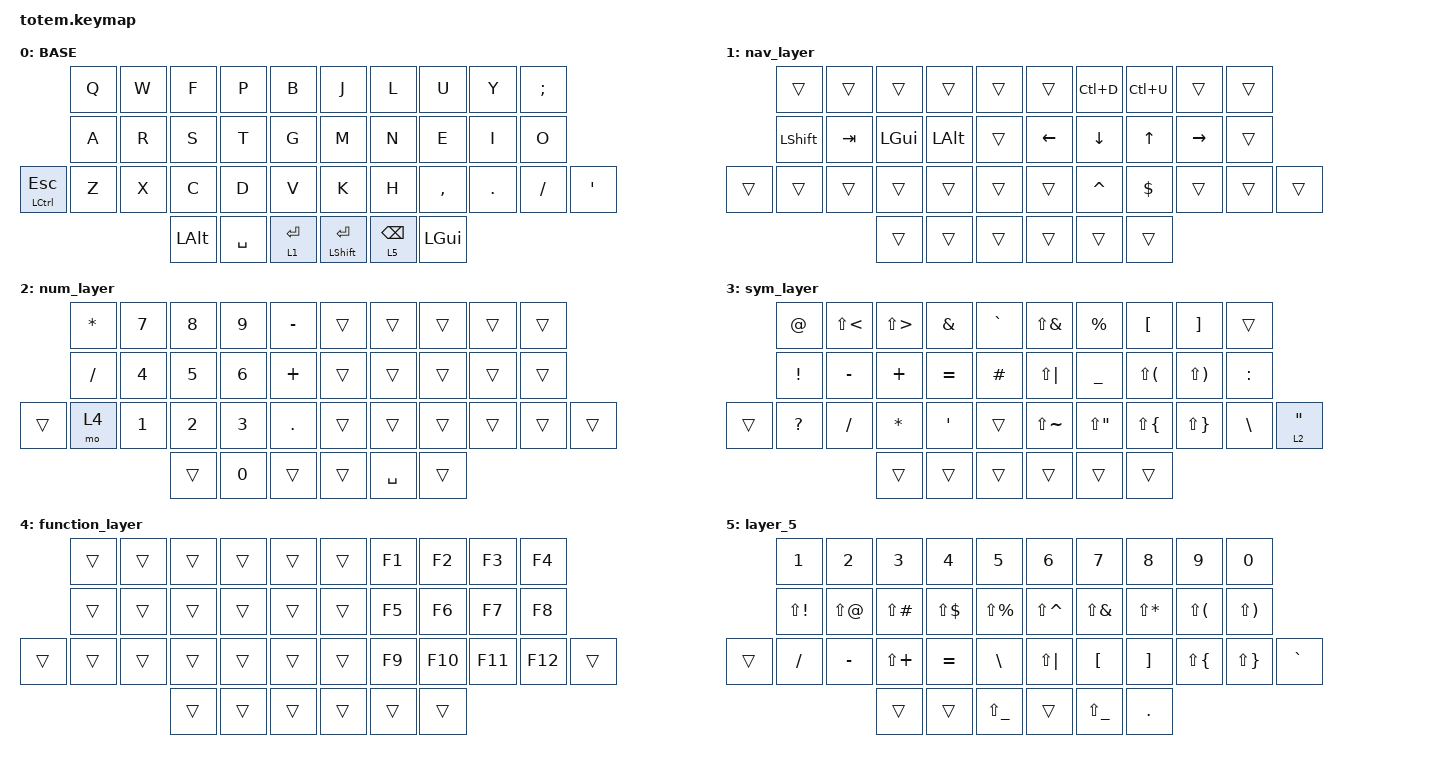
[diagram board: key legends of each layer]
//
//                                                        ▀▀▀▀▀     ▀▀▀▀▀          ▀▀█▀▀
//                                                        ▄▀▀▀▄  ▄  ▄▀▀▀▄  ▄  ▄▀▀▀▄  █  ▄▀▀▀▄
//                                                        █   █  █  █   █  █  █   █  █  █   █
//                                                         ▀▀▀   █   ▀▀▀   █   ▀▀▀   ▀   ▀▀▀
//                                                               █      ▄▄▄█▄▄▄    █   █  
//                                                               ▀      █  █  █     █▄█
//                                                             ▀▀▀▀▀    █  █  █      ▀
//                                                                      ▀  ▀  ▀
//
// ▄▄▄▄▄▄▄▄▄▄▄▄▄▄▄▄▄▄▄▄▄▄▄▄▄▄▄▄▄▄▄▄▄▄▄▄▄▄▄▄▄▄▄▄▄▄▄▄▄▄▄▄▄▄▄▄▄▄▄▄▄▄▄▄▄▄▄▄▄▄▄▄▄▄▄▄▄▄▄▄▄▄▄▄▄▄▄▄▄▄▄▄▄▄▄▄▄▄▄▄▄▄▄▄▄▄▄▄▄▄▄▄▄▄▄▄▄▄▄▄▄▄▄▄▄▄▄▄▄▄▄▄▄▄▄▄▄▄▄▄▄▄▄▄▄▄▄▄▄

#include <behaviors.dtsi>
#include <dt-bindings/zmk/keys.h>

#define BASE 0
#define NAV  1
#define SYM  2
#define ADJ  3
#define TVP1 4
#define TVP2 5

&lt { flavor = "hold-preferred"; };

/ {
    combos { compatible = "zmk,combos"; };

    behaviors {
        tmt: tmt {
            compatible = "zmk,behavior-hold-tap";
            label = "TMT";
            bindings = <&kp>, <&kp>;

            #binding-cells = <2>;
            tapping-term-ms = <150>;
            require-prior-idle-ms = <50>;
            flavor = "tap-preferred";
            quick-tap-ms = <50>;
        };
    };

    keymap {
        compatible = "zmk,keymap";

        // ▄▄▄▄▄▄▄▄▄▄▄▄▄▄▄▄▄▄▄▄▄▄▄▄▄▄▄▄▄▄▄▄▄▄▄▄▄▄▄▄▄▄▄▄▄▄▄▄▄▄▄▄▄▄▄▄▄▄▄▄▄▄▄▄▄▄▄▄▄▄▄▄▄▄▄▄▄▄▄▄▄▄▄▄▄▄▄▄▄▄▄▄▄▄▄▄▄▄▄▄▄▄▄▄▄▄▄▄▄▄▄▄▄▄▄▄▄▄▄▄▄▄▄▄▄▄▄▄▄▄▄▄▄▄▄▄▄▄▄▄▄▄▄▄▄▄▄▄▄

        base_layer {
            // ┏━━━━━━━━━━━━━━━━━━━━━━━━━━━━━━━━━━━━━━━┓

            label = "BASE";

            // ┗━━━━━━━━━━━━━━━━━━━━━━━━━━━━━━━━━━━━━━━┛
            //             ┏━━━━━━━━━━━┳━━━━━━━━━━━┳━━━━━━━━━━━┳━━━━━━━━━━━┳━━━━━━━━━━━┓   ┏━━━━━━━━━━━┳━━━━━━━━━━━┳━━━━━━━━━━━┳━━━━━━━━━━━┳━━━━━━━━━━━┓
            //             ┃     Q     ┃     W     ┃     F     ┃     P     ┃     B     ┃   ┃     J     ┃     L     ┃     U     ┃     Y     ┃     ;     ┃
            //             ┣━━━━━━━━━━━╋━━━━━━━━━━━╋━━━━━━━━━━━╋━━━━━━━━━━━╋━━━━━━━━━━━┫   ┣━━━━━━━━━━━╋━━━━━━━━━━━╋━━━━━━━━━━━╋━━━━━━━━━━━╋━━━━━━━━━━━┫
            //             ┃     A     ┃     R     ┃     S     ┃     T     ┃     G     ┃   ┃     M     ┃     N     ┃     E     ┃     I     ┃     O     ┃
            // ┏━━━━━━━━━━━╋━━━━━━━━━━━╋━━━━━━━━━━━╋━━━━━━━━━━━╋━━━━━━━━━━━╋━━━━━━━━━━━┫   ┣━━━━━━━━━━━╋━━━━━━━━━━━╋━━━━━━━━━━━╋━━━━━━━━━━━╋━━━━━━━━━━━╋━━━━━━━━━━━┓
            // ┃   CTRL    ┃     Z     ┃     X     ┃     C     ┃     D     ┃     V     ┃   ┃     K     ┃     H     ┃     ,     ┃     .     ┃     /     ┃    NUM    ┃
            // ┗━━━━━━━━━━━┻━━━━━━━━━━━┻━━━━━━━━━━━╋━━━━━━━━━━━╋━━━━━━━━━━━╋━━━━━━━━━━━┫   ┣━━━━━━━━━━━╋━━━━━━━━━━━╋━━━━━━━━━━━╋━━━━━━━━━━━┻━━━━━━━━━━━┻━━━━━━━━━━━┛
            //                                     ┃    ALT    ┃    SPC    ┃    NAV    ┃   ┃    SYM    ┃   BSPC    ┃    MOD    ┃
            //                                     ┗━━━━━━━━━━━┻━━━━━━━━━━━┻━━━━━━━━━━━┛   ┗━━━━━━━━━━━┻━━━━━━━━━━━┻━━━━━━━━━━━┛

            bindings = <
                  &kp Q  &kp W  &kp F     &kp P      &kp B          &kp J             &kp L            &kp U         &kp Y    &kp SEMI
                  &kp A  &kp R  &kp S     &kp T      &kp G          &kp M             &kp N            &kp E         &kp I    &kp O
&mt LCTRL ESCAPE  &kp Z  &kp X  &kp C     &kp D      &kp V          &kp K             &kp H            &kp COMMA     &kp DOT  &kp FSLH  &kp SQT
                                &kp LALT  &kp SPACE  &lt 1 ENTER    &mt LSHIFT ENTER  &lt 5 BACKSPACE  &kp LEFT_GUI
            >;
        };

        nav_layer {
            bindings = <
        &trans      &trans   &trans    &trans    &trans    &trans    &kp LC(D)  &kp LC(U)   &trans     &trans
        &kp LSHIFT  &kp TAB  &kp LGUI  &kp LALT  &trans    &kp LEFT  &kp DOWN   &kp UP      &kp RIGHT  &trans
&trans  &trans      &trans   &trans    &trans    &trans    &trans    &kp CARET  &kp DOLLAR  &trans     &trans  &trans
                             &trans    &trans    &trans    &trans    &trans     &trans
            >;
        };

        num_layer {
            bindings = <
        &kp STAR   &kp N7  &kp N8  &kp N9  &kp MINUS    &trans  &trans     &trans  &trans  &trans
        &kp SLASH  &kp N4  &kp N5  &kp N6  &kp PLUS     &trans  &trans     &trans  &trans  &trans
&trans  &mo 4      &kp N1  &kp N2  &kp N3  &kp DOT      &trans  &trans     &trans  &trans  &trans  &trans
                           &trans  &kp N0  &trans       &trans  &kp SPACE  &trans
            >;
        };

        sym_layer {
            bindings = <
        &kp AT        &kp LS(LESS_THAN)  &kp LS(GT)  &kp AMPS          &kp GRAVE    &kp LS(AMPS)   &kp PERCENT            &kp LBKT      &kp RBKT      &trans
        &kp EXCL      &kp MINUS          &kp PLUS    &kp EQUAL         &kp HASH     &kp LS(PIPE)   &kp UNDER              &kp LS(LPAR)  &kp LS(RPAR)  &kp COLON
&trans  &kp QUESTION  &kp FSLH           &kp STAR    &kp SINGLE_QUOTE  &trans       &kp LS(TILDE)  &kp LS(DOUBLE_QUOTES)  &kp LS(LBRC)  &kp LS(RBRC)  &kp BACKSLASH  &lt 2 DOUBLE_QUOTES
                                         &trans      &trans            &trans       &trans         &trans                 &trans
            >;
        };

        function_layer {
            bindings = <
        &trans  &trans  &trans  &trans  &trans    &trans  &kp F1  &kp F2   &kp F3   &kp F4
        &trans  &trans  &trans  &trans  &trans    &trans  &kp F5  &kp F6   &kp F7   &kp F8
&trans  &trans  &trans  &trans  &trans  &trans    &trans  &kp F9  &kp F10  &kp F11  &kp F12  &trans
                        &trans  &trans  &trans    &trans  &trans  &trans
            >;
        };

        layer_5 {
            bindings = <
        &kp N1        &kp N2      &kp N3         &kp N4        &kp N5           &kp N6         &kp N7         &kp N8        &kp N9        &kp N0
        &kp LS(EXCL)  &kp LS(AT)  &kp LS(POUND)  &kp LS(DLLR)  &kp LS(PRCNT)    &kp LS(CARET)  &kp LS(AMPS)   &kp LS(STAR)  &kp LS(LPAR)  &kp LS(RPAR)
&trans  &kp FSLH      &kp MINUS   &kp LS(PLUS)   &kp EQUAL     &kp BSLH         &kp LS(PIPE)   &kp LBKT       &kp RBKT      &kp LS(LBRC)  &kp LS(RBRC)  &kp GRAVE
                                  &trans         &trans        &kp LS(UNDER)    &trans         &kp LS(UNDER)  &kp DOT
            >;
        };
    };
};
